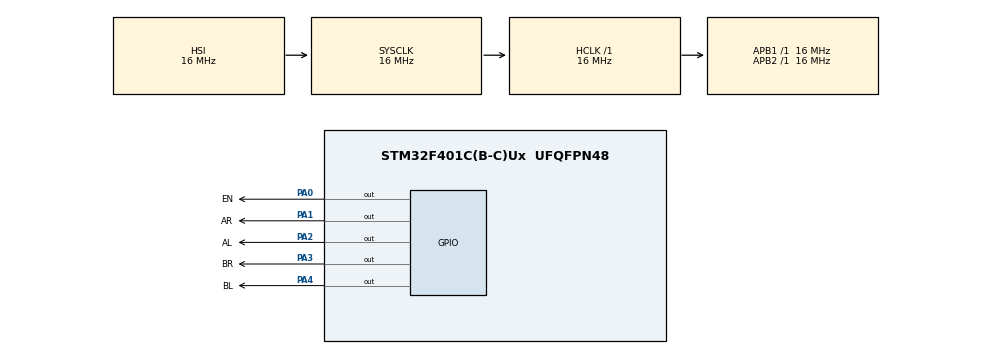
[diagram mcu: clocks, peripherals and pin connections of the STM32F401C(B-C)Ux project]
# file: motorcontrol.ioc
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Mcu.Family=STM32F4
Mcu.Name=STM32F401C(B-C)Ux
Mcu.Package=UFQFPN48
NVIC.PriorityGroup=NVIC_PRIORITYGROUP_4
PA0-WKUP.GPIO_Label=EN
PA0-WKUP.Signal=GPIO_Output
PA1.GPIO_Label=AR
PA1.Signal=GPIO_Output
PA2.GPIO_Label=AL
PA2.Signal=GPIO_Output
PA3.GPIO_Label=BR
PA3.Signal=GPIO_Output
PA4.GPIO_Label=BL
PA4.Signal=GPIO_Output
ProjectManager.HeapSize=0x200
ProjectManager.StackSize=0x400
ProjectManager.TargetToolchain=CMake
RCC.AHBFreq_Value=16000000
RCC.APB1Freq_Value=16000000
RCC.APB2Freq_Value=16000000
RCC.CortexFreq_Value=16000000
RCC.HSE_VALUE=25000000
RCC.HSI_VALUE=16000000
RCC.LSE_VALUE=32768
RCC.SYSCLKFreq_VALUE=16000000
RCC.VCOOutputFreq_Value=192000000
board=custom

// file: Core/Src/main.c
/* USER CODE BEGIN Header */
/**
  ******************************************************************************
  * @file           : main.c
  * @brief          : Main program body
  ******************************************************************************
  * @attention
  *
  * Copyright (c) 2026 STMicroelectronics.
  * All rights reserved.
  *
  * This software is licensed under terms that can be found in the LICENSE file
  * in the root directory of this software component.
  * If no LICENSE file comes with this software, it is provided AS-IS.
  *
  ******************************************************************************
  */
/* USER CODE END Header */
#include "main.h"

void SystemClock_Config(void);
static void MX_GPIO_Init(void);

/* USER CODE BEGIN 0 */
void adelante(uint16_t duracion){
  HAL_GPIO_WritePin(GPIOA, EN_Pin, GPIO_PIN_SET);
  HAL_GPIO_WritePin(GPIOA, AR_Pin, GPIO_PIN_SET);
  HAL_GPIO_WritePin(GPIOA, AL_Pin, GPIO_PIN_RESET);
  HAL_GPIO_WritePin(GPIOA, BR_Pin, GPIO_PIN_SET);
  HAL_GPIO_WritePin(GPIOA, BL_Pin, GPIO_PIN_RESET);
  HAL_Delay(duracion);

}
void atras(uint16_t duracion){
  HAL_GPIO_WritePin(GPIOA, EN_Pin, GPIO_PIN_SET);
  HAL_GPIO_WritePin(GPIOA, AR_Pin, GPIO_PIN_RESET);
  HAL_GPIO_WritePin(GPIOA, AL_Pin, GPIO_PIN_SET);
  HAL_GPIO_WritePin(GPIOA, BR_Pin, GPIO_PIN_RESET);
  HAL_GPIO_WritePin(GPIOA, BL_Pin, GPIO_PIN_SET);
  HAL_Delay(duracion);

}
void derecha(uint16_t duracion){
  HAL_GPIO_WritePin(GPIOA, EN_Pin, GPIO_PIN_SET);
  HAL_GPIO_WritePin(GPIOA, AR_Pin, GPIO_PIN_SET);
  HAL_GPIO_WritePin(GPIOA, AL_Pin, GPIO_PIN_RESET);
  HAL_GPIO_WritePin(GPIOA, BR_Pin, GPIO_PIN_RESET);
  HAL_GPIO_WritePin(GPIOA, BL_Pin, GPIO_PIN_SET);
  HAL_Delay(duracion);

}
void izquierda(uint16_t duracion){
  HAL_GPIO_WritePin(GPIOA, EN_Pin, GPIO_PIN_SET);
  HAL_GPIO_WritePin(GPIOA, AR_Pin, GPIO_PIN_RESET);
  HAL_GPIO_WritePin(GPIOA, AL_Pin, GPIO_PIN_SET);
  HAL_GPIO_WritePin(GPIOA, BR_Pin, GPIO_PIN_SET);
  HAL_GPIO_WritePin(GPIOA, BL_Pin, GPIO_PIN_RESET);
  HAL_Delay(duracion);

}
/* USER CODE END 0 */

int main(void)
{

  /* MCU Configuration--------------------------------------------------------*/

  /* Reset of all peripherals, Initializes the Flash interface and the Systick. */
  HAL_Init();

  /* Configure the system clock */
  SystemClock_Config();

  /* Initialize all configured peripherals */
  MX_GPIO_Init();

  /* Infinite loop */
  while (1)
  {
    adelante(3000);
    derecha(430);
    adelante(3000);
    derecha(430);
    adelante(3000);
    derecha(430);
    adelante(3000);
    derecha(430);
    izquierda(430);
    atras(3000);
    izquierda(430);
    atras(3000);
    izquierda(430);
    atras(3000);
    HAL_Delay(100);
  }
}

void SystemClock_Config(void)
{
  RCC_OscInitTypeDef RCC_OscInitStruct = {0};
  RCC_ClkInitTypeDef RCC_ClkInitStruct = {0};

  /** Configure the main internal regulator output voltage
  */
  __HAL_RCC_PWR_CLK_ENABLE();
  __HAL_PWR_VOLTAGESCALING_CONFIG(PWR_REGULATOR_VOLTAGE_SCALE2);

  /** Initializes the RCC Oscillators according to the specified parameters
  * in the RCC_OscInitTypeDef structure.
  */
  RCC_OscInitStruct.OscillatorType = RCC_OSCILLATORTYPE_HSI;
  RCC_OscInitStruct.HSIState = RCC_HSI_ON;
  RCC_OscInitStruct.HSICalibrationValue = RCC_HSICALIBRATION_DEFAULT;
  RCC_OscInitStruct.PLL.PLLState = RCC_PLL_NONE;
  if (HAL_RCC_OscConfig(&RCC_OscInitStruct) != HAL_OK)
  {
    Error_Handler();
  }

  /** Initializes the CPU, AHB and APB buses clocks
  */
  RCC_ClkInitStruct.ClockType = RCC_CLOCKTYPE_HCLK|RCC_CLOCKTYPE_SYSCLK
                              |RCC_CLOCKTYPE_PCLK1|RCC_CLOCKTYPE_PCLK2;
  RCC_ClkInitStruct.SYSCLKSource = RCC_SYSCLKSOURCE_HSI;
  RCC_ClkInitStruct.AHBCLKDivider = RCC_SYSCLK_DIV1;
  RCC_ClkInitStruct.APB1CLKDivider = RCC_HCLK_DIV1;
  RCC_ClkInitStruct.APB2CLKDivider = RCC_HCLK_DIV1;

  if (HAL_RCC_ClockConfig(&RCC_ClkInitStruct, FLASH_LATENCY_0) != HAL_OK)
  {
    Error_Handler();
  }
}

static void MX_GPIO_Init(void)
{
  GPIO_InitTypeDef GPIO_InitStruct = {0};

  /* GPIO Ports Clock Enable */
  __HAL_RCC_GPIOA_CLK_ENABLE();

  /*Configure GPIO pin Output Level */
  HAL_GPIO_WritePin(GPIOA, EN_Pin|AR_Pin|AL_Pin|BR_Pin
                          |BL_Pin, GPIO_PIN_RESET);

  /*Configure GPIO pins : EN_Pin AR_Pin AL_Pin BR_Pin
                           BL_Pin */
  GPIO_InitStruct.Pin = EN_Pin|AR_Pin|AL_Pin|BR_Pin
                          |BL_Pin;
  GPIO_InitStruct.Mode = GPIO_MODE_OUTPUT_PP;
  GPIO_InitStruct.Pull = GPIO_NOPULL;
  GPIO_InitStruct.Speed = GPIO_SPEED_FREQ_LOW;
  HAL_GPIO_Init(GPIOA, &GPIO_InitStruct);

}

void Error_Handler(void)
{
  __disable_irq();
  while (1)
  {
  }
}
